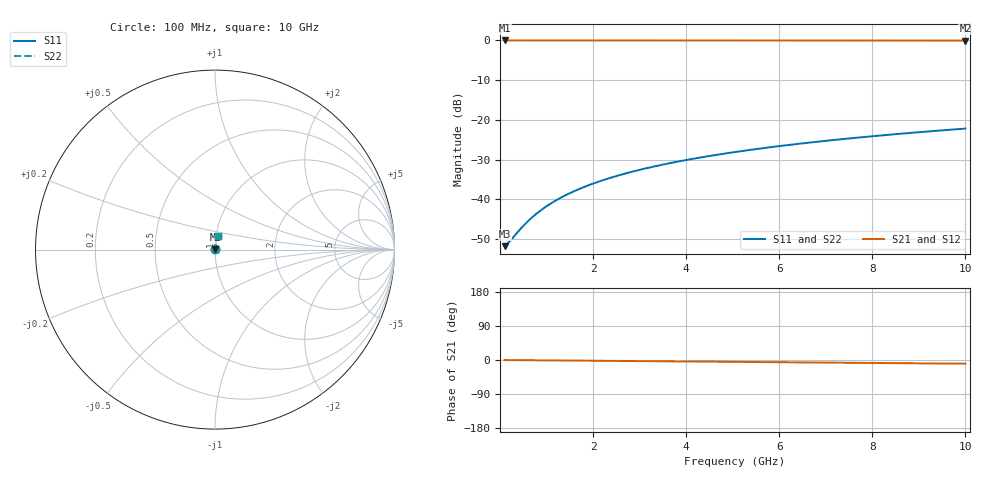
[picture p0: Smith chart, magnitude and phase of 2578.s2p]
# Hz S RI R 50.00
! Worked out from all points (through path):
!   100 points, 100 MHz to 10 GHz, reference 50 ohm
!   highest |S21| = -0.02 dB at 100 MHz (marker M1); lowest = -0.1 dB at 10 GHz (marker M2)
!   group delay of S21, straight-line fit = 2.71 ps
!   lowest |S11| = -51.8 dB at 100 MHz (marker M3), VSWR 1.01, Z = 50.2 + j0.0779 ohm
!   |S11| at or under -10 dB: start of sweep to end of sweep
!   |S22| runs from -51.8 to -22.2 dB; largest |S21 - S12| = 0
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1e8  0.00246 0.000776  0.9975 -0.00169  0.9975 -0.00169  0.00246 0.000776
2e8  0.00248 0.00155  0.9975 -0.00339  0.9975 -0.00339  0.00248 0.00155
4e8  0.00252 0.0031  0.9975 -0.00677  0.9975 -0.00677  0.00252 0.0031
5e8  0.00254 0.00388  0.9974 -0.00846  0.9974 -0.00846  0.00254 0.00388
6e8  0.00256 0.00465  0.9974 -0.0102  0.9974 -0.0102  0.00256 0.00465
7e8  0.00259 0.00543  0.9974 -0.0118  0.9974 -0.0118  0.00259 0.00543
9e8  0.00264 0.00698  0.9973 -0.0152  0.9973 -0.0152  0.00264 0.00698
1.1e9  0.0027 0.00853  0.9972 -0.0186  0.9972 -0.0186  0.0027 0.00853
1.3e9  0.00277 0.0101  0.9971 -0.022  0.9971 -0.022  0.00277 0.0101
1.5e9  0.00285 0.0116  0.997 -0.0254  0.997 -0.0254  0.00285 0.0116
1.8e9  0.00299 0.0139  0.9969 -0.0305  0.9969 -0.0305  0.00299 0.0139
2.1e9  0.00316 0.0163  0.9966 -0.0355  0.9966 -0.0355  0.00316 0.0163
2.5e9  0.00341 0.0194  0.9963 -0.0423  0.9963 -0.0423  0.00341 0.0194
2.9e9  0.00371 0.0224  0.9959 -0.0491  0.9959 -0.0491  0.00371 0.0224
3.4e9  0.00413 0.0263  0.9954 -0.0575  0.9954 -0.0575  0.00413 0.0263
4.2e9  0.00495 0.0325  0.9943 -0.071  0.9943 -0.071  0.00495 0.0325
5.1e9  0.00607 0.0393  0.9928 -0.0862  0.9928 -0.0862  0.00607 0.0393
5.9e9  0.00724 0.0454  0.9912 -0.0997  0.9912 -0.0997  0.00724 0.0454
6.7e9  0.00857 0.0515  0.9895 -0.1131  0.9895 -0.1131  0.00857 0.0515
7.5e9  0.0101 0.0575  0.9875 -0.1265  0.9875 -0.1265  0.0101 0.0575
8.4e9  0.012 0.0643  0.985 -0.1416  0.985 -0.1416  0.012 0.0643
1e10  0.0158 0.0761  0.9798 -0.1682  0.9798 -0.1682  0.0158 0.0761
